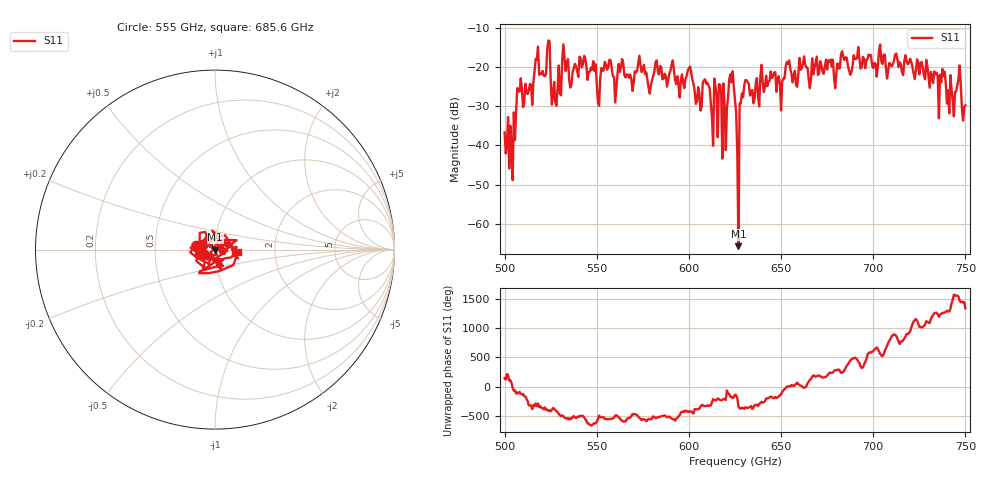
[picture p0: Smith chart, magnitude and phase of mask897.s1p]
!Created with skrf (http://scikit-rf.org).
# GHz S MA R 50.0
!freq magS11 angS11
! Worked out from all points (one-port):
!   401 points, 500 GHz to 750 GHz, reference 50 ohm
!   lowest |S11| = -65.7 dB at 626.9 GHz (marker M1), VSWR 1.00, Z = 50 + j0.0163 ohm
!   |S11| at or under -10 dB: start of sweep to end of sweep
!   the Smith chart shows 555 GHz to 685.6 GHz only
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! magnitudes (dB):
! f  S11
! 500 GHz  -36.7
! 503.8 GHz  -40.9
! 508.1 GHz  -26.3
! 513.8 GHz  -24.3
! 517.5 GHz  -18.1
! 523.8 GHz  -13.2
! 526.9 GHz  -23.8
! 531.2 GHz  -18.1
! 542.5 GHz  -19.3
! 551.2 GHz  -29.9
! 562.5 GHz  -21.3
! 593.8 GHz  -22.4
! 600.6 GHz  -19.9
! 605.6 GHz  -26.6
! 609.4 GHz  -24.3
! 619.4 GHz  -30.0
! 623.1 GHz  -23.9
! 625 GHz  -28.4
! 625.6 GHz  -31.6
! 626.9 GHz  -65.7
! 628.8 GHz  -26.7
! 631.2 GHz  -23.4
! 656.2 GHz  -23.9
! 687.5 GHz  -22.0
! 718.8 GHz  -19.3
! 742.5 GHz  -25.8
! 746.2 GHz  -23.1
! 750 GHz  -29.8
